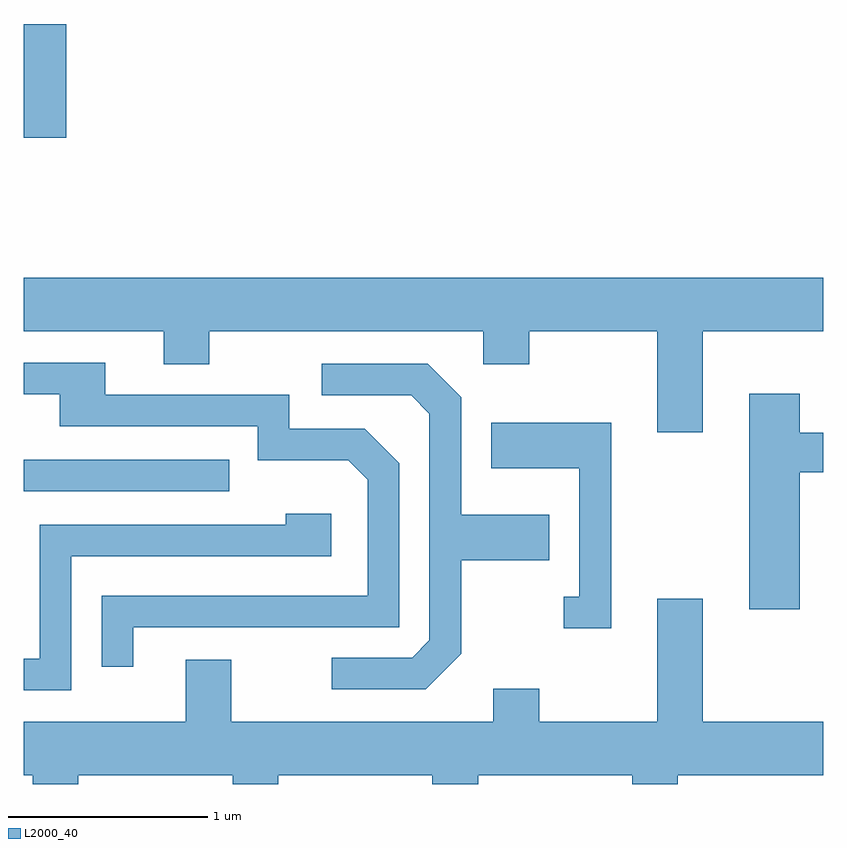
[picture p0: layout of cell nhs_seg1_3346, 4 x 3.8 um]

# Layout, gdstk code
import gdstk
lib = gdstk.Library(unit=1e-6, precision=1e-09)
def R(c, l, rs):  # rectangles x0, y0, x1, y1
    for r in rs: c.add(gdstk.rectangle(r[:2], r[2:], *l))
def P(c, l, *ps):  # polygons
    for p in ps: c.add(gdstk.Polygon(p, *l))
L2000_40 = (2000, 40)

nhs_seg1_3346 = lib.new_cell('nhs_seg1_3346')
R(nhs_seg1_3346, L2000_40, [(285.611,943.176,286.638,943.334), (285.611,944.946,285.824,945.514)])
P(nhs_seg1_3346, L2000_40, [(289.009,943.976),(289.611,943.976),(289.611,944.244),(285.611,944.244),(285.611,943.976),(286.311,943.976),(286.311,943.811),(286.539,943.811),(286.539,943.976),(287.911,943.976),(287.911,943.811),(288.139,943.811),(288.139,943.976),(288.781,943.976),(288.781,943.471),(289.009,943.471)],
  [(286.159,942.496),(287.489,942.496),(287.489,943.317),(287.317,943.489),(286.939,943.489),(286.939,943.659),(286.019,943.659),(286.019,943.819),(285.611,943.819),(285.611,943.661),(285.791,943.661),(285.791,943.501),(286.781,943.501),(286.781,943.331),(287.234,943.331),(287.331,943.234),(287.331,942.654),(286.001,942.654),(286.001,942.298),(286.159,942.298)],
  [(287.799,942.364),(287.799,942.831),(288.239,942.831),(288.239,943.059),(287.799,943.059),(287.799,943.647),(287.632,943.814),(287.103,943.814),(287.103,943.656),(287.549,943.656),(287.641,943.564),(287.641,942.432),(287.554,942.344),(287.153,942.344),(287.153,942.186),(287.622,942.186)],
  [(289.494,943.271),(289.611,943.271),(289.611,943.469),(289.494,943.469),(289.494,943.664),(289.241,943.664),(289.241,942.586),(289.494,942.586)],
  [(288.549,943.519),(287.951,943.519),(287.951,943.291),(288.391,943.291),(288.391,942.649),(288.313,942.649),(288.313,942.491),(288.549,942.491)],
  [(285.849,942.851),(287.149,942.851),(287.149,943.064),(286.921,943.064),(286.921,943.009),(285.691,943.009),(285.691,942.339),(285.611,942.339),(285.611,942.181),(285.849,942.181)],
  [(288.656,941.712),(288.884,941.712),(288.884,941.756),(289.611,941.756),(289.611,942.024),(289.009,942.024),(289.009,942.639),(288.781,942.639),(288.781,942.024),(288.189,942.024),(288.189,942.189),(287.961,942.189),(287.961,942.024),(286.649,942.024),(286.649,942.334),(286.421,942.334),(286.421,942.024),(285.611,942.024),(285.611,941.756),(285.656,941.756),(285.656,941.712),(285.884,941.712),(285.884,941.756),(286.656,941.756),(286.656,941.712),(286.884,941.712),(286.884,941.756),(287.656,941.756),(287.656,941.712),(287.884,941.712),(287.884,941.756),(288.656,941.756)])

lib.write_gds('nhs_seg1_3346.gds')
